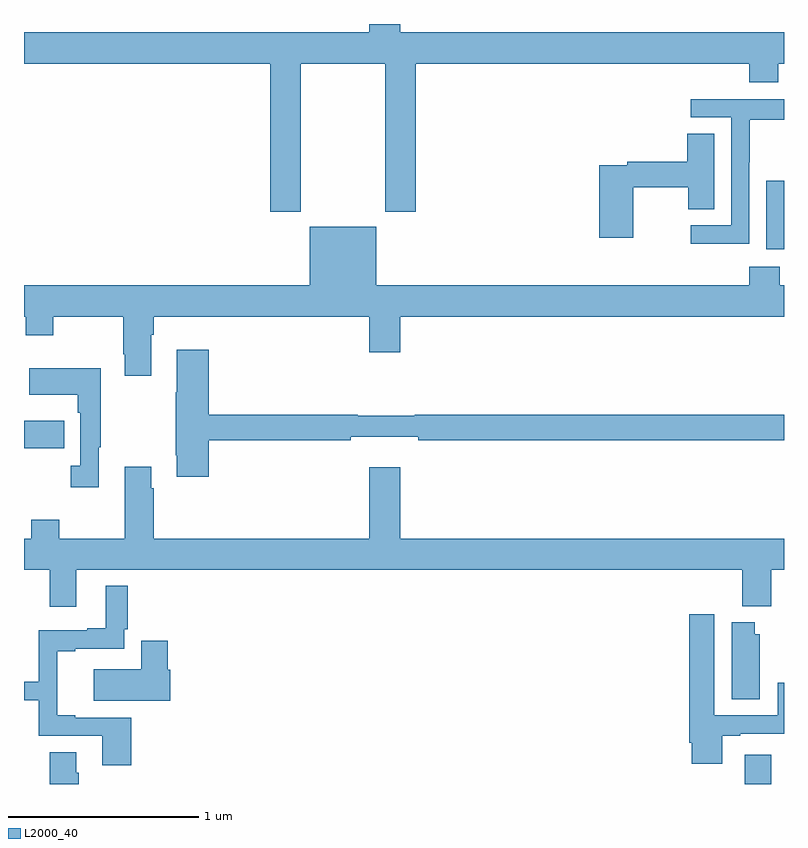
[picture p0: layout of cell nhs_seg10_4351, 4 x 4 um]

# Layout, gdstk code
import gdstk
lib = gdstk.Library(unit=1e-6, precision=1e-09)
def R(c, l, rs):  # rectangles x0, y0, x1, y1
    for r in rs: c.add(gdstk.rectangle(r[:2], r[2:], *l))
def P(c, l, *ps):  # polygons
    for p in ps: c.add(gdstk.Polygon(p, *l))
L2000_40 = (2000, 40)

nhs_seg10_4351 = lib.new_cell('nhs_seg10_4351')
R(nhs_seg10_4351, L2000_40, [(358.793,1320.5,358.933,1320.655), (355,1322.266,355.211,1322.413), (358.907,1323.314,359,1323.675)])
P(nhs_seg10_4351, L2000_40, [(356.457,1324.292),(356.902,1324.292),(356.902,1323.513),(357.062,1323.513),(357.062,1324.292),(358.817,1324.292),(358.817,1324.193),(358.969,1324.193),(358.969,1324.292),(359,1324.292),(359,1324.456),(356.98,1324.456),(356.98,1324.5),(356.816,1324.5),(356.816,1324.456),(355,1324.456),(355,1324.292),(356.297,1324.292),(356.297,1323.513),(356.457,1323.513)],
  [(358.818,1323.772),(358.821,1323.772),(358.821,1323.996),(359,1323.996),(359,1324.104),(358.509,1324.104),(358.509,1324.008),(358.722,1324.008),(358.722,1323.441),(358.509,1323.441),(358.509,1323.343),(358.818,1323.343)],
  [(358.206,1323.64),(358.495,1323.64),(358.495,1323.526),(358.633,1323.526),(358.633,1323.923),(358.49,1323.923),(358.49,1323.776),(358.174,1323.776),(358.174,1323.756),(358.028,1323.756),(358.028,1323.375),(358.206,1323.375)],
  [(355.669,1322.864),(355.682,1322.864),(355.682,1322.96),(356.816,1322.96),(356.816,1322.772),(356.98,1322.772),(356.98,1322.96),(359,1322.96),(359,1323.124),(358.977,1323.124),(358.977,1323.223),(358.817,1323.223),(358.817,1323.124),(356.854,1323.124),(356.854,1323.433),(356.504,1323.433),(356.504,1323.124),(355,1323.124),(355,1322.96),(355.008,1322.96),(355.008,1322.861),(355.155,1322.861),(355.155,1322.96),(355.522,1322.96),(355.522,1322.761),(355.529,1322.761),(355.529,1322.649),(355.669,1322.649)],
  [(355.973,1322.308),(356.72,1322.308),(356.72,1322.327),(357.076,1322.327),(357.076,1322.308),(359,1322.308),(359,1322.444),(357.056,1322.444),(357.056,1322.437),(356.756,1322.437),(356.756,1322.444),(355.973,1322.444),(355.973,1322.785),(355.805,1322.785),(355.805,1322.561),(355.798,1322.561),(355.798,1322.23),(355.805,1322.23),(355.805,1322.118),(355.973,1322.118)],
  [(355.393,1322.273),(355.405,1322.273),(355.405,1322.689),(355.027,1322.689),(355.027,1322.549),(355.284,1322.549),(355.284,1322.453),(355.296,1322.453),(355.296,1322.174),(355.245,1322.174),(355.245,1322.061),(355.393,1322.061)],
  [(355.276,1321.628),(358.781,1321.628),(358.781,1321.436),(358.933,1321.436),(358.933,1321.628),(359,1321.628),(359,1321.792),(356.98,1321.792),(356.98,1322.167),(356.816,1322.167),(356.816,1321.792),(355.682,1321.792),(355.682,1322.057),(355.669,1322.057),(355.669,1322.17),(355.529,1322.17),(355.529,1321.792),(355.185,1321.792),(355.185,1321.891),(355.037,1321.891),(355.037,1321.792),(355,1321.792),(355,1321.628),(355.136,1321.628),(355.136,1321.434),(355.276,1321.434)],
  [(355.565,1320.849),(355.27,1320.849),(355.27,1320.862),(355.175,1320.862),(355.175,1321.2),(355.27,1321.2),(355.27,1321.212),(355.527,1321.212),(355.527,1321.315),(355.547,1321.315),(355.547,1321.543),(355.43,1321.543),(355.43,1321.321),(355.334,1321.321),(355.334,1321.308),(355.077,1321.308),(355.077,1321.038),(355,1321.038),(355,1320.942),(355.077,1320.942),(355.077,1320.753),(355.412,1320.753),(355.412,1320.6),(355.565,1320.6)],
  [(358.675,1320.753),(358.771,1320.753),(358.771,1320.765),(359,1320.765),(359,1321.033),(358.967,1321.033),(358.967,1320.861),(358.633,1320.861),(358.633,1321.393),(358.502,1321.393),(358.502,1320.718),(358.514,1320.718),(358.514,1320.606),(358.675,1320.606)],
  [(358.873,1321.287),(358.846,1321.287),(358.846,1321.351),(358.724,1321.351),(358.724,1320.946),(358.873,1320.946)],
  [(355.769,1321.101),(355.757,1321.101),(355.757,1321.255),(355.616,1321.255),(355.616,1321.105),(355.368,1321.105),(355.368,1320.938),(355.769,1320.938)],
  [(355.289,1320.558),(355.276,1320.558),(355.276,1320.668),(355.136,1320.668),(355.136,1320.5),(355.289,1320.5)])

lib.write_gds('nhs_seg10_4351.gds')
